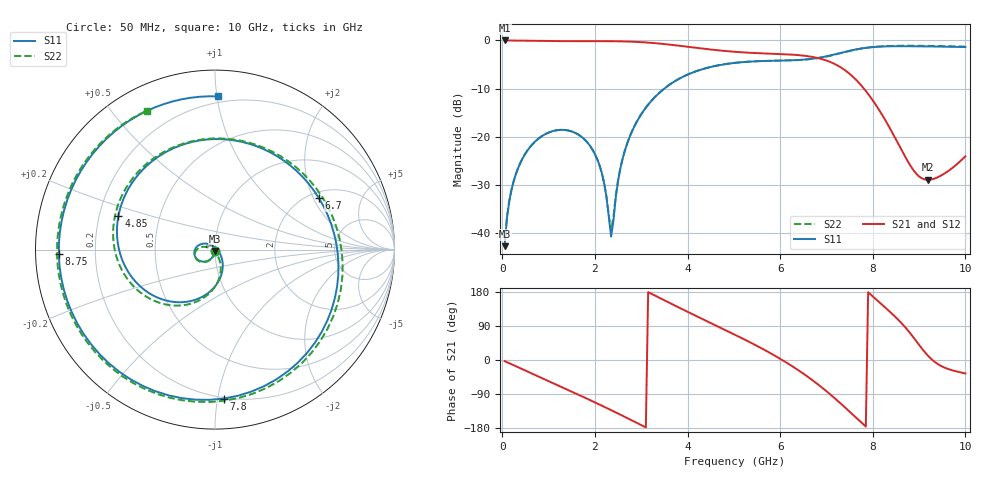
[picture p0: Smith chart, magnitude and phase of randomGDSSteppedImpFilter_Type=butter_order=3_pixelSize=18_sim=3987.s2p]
! freq	dB(S11)	phase(S11)	dB(S12)	phase(S12)
!  dB(S21)	phase(S21)	dB(S22)	phase(S22)
!S-par simulation data
#  GHz  S  DB  R 50
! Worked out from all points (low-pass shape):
!   200 points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, 50 MHz to 10 GHz, reference 50 ohm
!   highest |S21| = -0.01 dB at 50 MHz (marker M1); lowest = -29.0 dB at 9.2 GHz (marker M2)
!   |S21| within 3 dB of the highest: start of sweep to 6.331 GHz
!   lowest |S11| = -42.8 dB at 50 MHz (marker M3), VSWR 1.01, Z = 50 - j0.728 ohm
!   |S11| at or under -10 dB: start of sweep to 3.5 GHz
!   |S22| runs from -42.7 to -1.1 dB; largest |S21 - S12| = 0
!   S11 on the Smith chart (normalised r, x): 50 MHz: 1.00, -0.01; 4.85 GHz: 0.28, +0.16; 6.7 GHz: 2.25, +2.21; 7.8 GHz: 0.19, -1.04; 8.75 GHz: 0.07, -0.02; 10 GHz: 0.16, +1.00
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0.05  -42.76 -90.4  -0.01 -2.9  -0.01 -2.9  -42.75 -90.6
0.2  -30.97 -101.2  -0.02 -11.3  -0.02 -11.3  -30.97 -100.5
0.55  -22.78 -122.2  -0.07 -30.8  -0.07 -30.8  -22.78 -120.1
1.15  -18.71 -157.2  -0.13 -64.0  -0.13 -64.0  -18.71 -152.2
1.75  -20.34 166.5  -0.15 -97.6  -0.15 -97.6  -20.35 177.1
2.15  -27.59 135.7  -0.15 -120.5  -0.15 -120.5  -27.61 163.2
2.35  -40.78 52.5  -0.16 -132.3  -0.16 -132.3  -39.63 -135.4
2.5  -29.20 -39.0  -0.18 -141.2  -0.18 -141.2  -28.97 -67.4
2.7  -21.35 -60.2  -0.22 -153.3  -0.22 -153.3  -21.27 -69.3
3.4  -10.81 -108.6  -0.65 163.7  -0.65 163.7  -10.78 -105.8
4.1  -6.71 -153.0  -1.43 121.3  -1.43 121.3  -6.69 -145.4
4.85  -4.88 160.6  -2.23 77.0  -2.23 77.0  -4.86 173.0
5.05  -4.64 148.1  -2.38 65.1  -2.38 65.1  -4.62 161.8
5.95  -4.20 87.2  -2.81 6.8  -2.81 6.8  -4.20 106.4
6.7  -3.79 26.3  -3.43 -53.5  -3.43 -53.5  -3.83 46.0
7  -3.30 -1.7  -4.18 -82.4  -4.18 -82.4  -3.35 15.8
7.3  -2.61 -32.3  -5.54 -114.1  -5.54 -114.1  -2.67 -17.7
7.8  -1.61 -86.5  -9.90 -170.1  -9.90 -170.1  -1.61 -75.5
8.35  -1.22 -142.6  -17.92 129.5  -17.92 129.5  -1.15 -130.7
8.75  -1.20 -178.2  -25.01 79.4  -25.01 79.4  -1.10 -163.4
9.2  -1.25 145.8  -28.97 10.3  -28.97 10.3  -1.13 165.2
10  -1.37 89.0  -24.09 -35.6  -24.09 -35.6  -1.29 116.3
